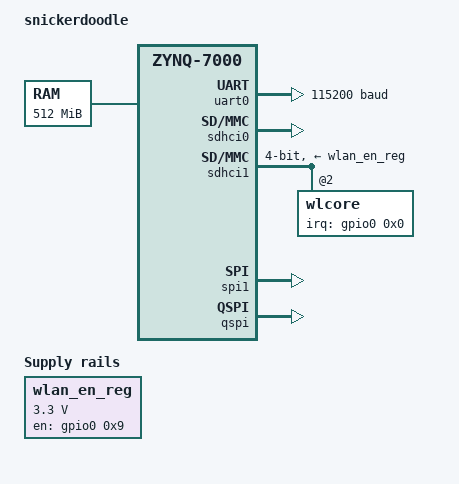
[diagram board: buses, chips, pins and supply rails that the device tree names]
/*
 * snickerdoodle board DTS
 *
 * Copyright (c) 2016 krtkl inc.
 *
 * SPDX-License-Identifier:     GPL-2.0+
 */


/dts-v1/;
/include/ "zynq-7000.dtsi"
/ {
        model = "snickerdoodle";
        compatible = "xlnx,zynq-snickerdoodle", "xlnx,zynq-7000";

	cpus {
		cpu@0 {
			operating-points = <0xA2C2B 0xF4240 0x51616 0xF4240>; /* <666666 1000000 333333 1000000> */
		};
	};

	chosen {
                bootargs = "console=ttyPS0,115200n8 root=/dev/mmcblk0p2 rw rootwait earlyprintk";
                linux,stdout-path = &uart0;
                stdout-path = &uart0;
        };

	aliases {
		serial0 = &uart0;
		spi0 = &qspi;
		mmc0 = &sdhci0;
		mmc1 = &sdhci1;
	};

	memory {
		device_type = "memory";
		reg = <0x0 0x20000000>;
	};

	wlan_en_reg: fixedregulator@1 {
                compatible = "regulator-fixed";
                regulator-name = "wlan-en-regulator";
                regulator-min-microvolt = <0x325aa0>;		/* Specified as 3.3V for driver, actually 1.8V */
                regulator-max-microvolt = <0x325aa0>;
                gpio = <&gpio0 0x9 0x4>;			/* WLAN_EN GPIO 9 on B5 */
                startup-delay-us = <0x11170>;
                enable-active-high;
                linux,phandle = <0x6>;
                phandle = <0x6>;
        };

};

&intc {
	num_cpus = <2>;
	num_interrupts = <96>;
};

&clkc {
	fclk-enable = <0x1>;
	ps-clk-frequency = <33333333>;
};

&gpio0 {
        interrupt-controller;
        #interrupt-cells = <0x2>;
        emio-gpio-width = <0x40>;
        gpio-mask-high = <0x0>;
        gpio-mask-low = <0x5600>;
        xlnx,emio-gpio-width = <0x40>;
        xlnx,mio-gpio-mask = <0x5600>;
        linux,phandle = <0x4>;
        phandle = <0x4>;
};

&uart0 {
	u-boot,dm-pre-reloc;
	status = "okay";
	interrupt-parent = <&intc>;
	xlnx,has-modem = <0x0>;
	current-speed = <0x1c200>;				/* 115200 */
	device_type = "serial";
	port-number = <0x0>;
};

&sdhci0 {
	u-boot,dm-pre-reloc;
        status = "okay";
};

&sdhci1 {
	u-boot,dm-pre-reloc;
        status = "okay";
        vmmc-supply = <&wlan_en_reg>;
	bus-width = <0x4>;
        cap-power-off-card;
	keep-power-in-suspend;

	#address-cells = <0x1>;
	#size-cells = <0x0>;
        wlcore: wlcore@0 {
                compatible = "wlcore", "ti,wl1831", "ti,wl1837";
		reg = <2>;
                interrupt-parent = <&gpio0>;
		interrupts = <0x0 0x4>;
        };
};

&spi1 {
        u-boot,dm-pre-reloc;
        status = "okay";
};

&qspi {
        u-boot,dm-pre-reloc;
        status = "okay";
};

&devcfg {
	syscon = <&slcr>;
};
